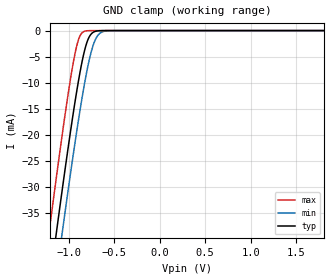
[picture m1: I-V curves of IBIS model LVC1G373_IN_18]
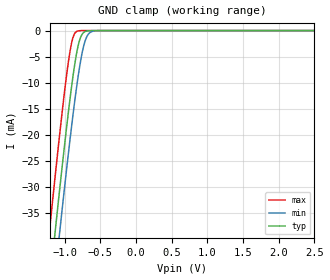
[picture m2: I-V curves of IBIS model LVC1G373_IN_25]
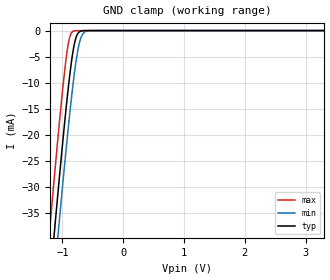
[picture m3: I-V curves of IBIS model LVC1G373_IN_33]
| TEXAS INSTRUMENTS INCORPORATED
| Standard Linear and Logic Group
| IBIS Model of SN74LVC1G373
| Single D-Type Latch with 3-State Output
| This file contains package information for the following:
|  SOT 6-pin (DBV) package as [Component] LVC1G373_DBV
|  SOT 6-pin (DCK) package as [Component] LVC1G373_DCK
|  DSBGA 6-pin (YEP) package as [Component] LVC1G373_YEP
|  DSBGA 6-pin (YZP) package as [Component] LVC1G373_YZP
| This device can be powered at the following Vccs:
|  1.8 volt Vcc
|  2.5 volt Vcc
|  3.3 volt Vcc
|  5 volt Vcc
| This file provides unique models under the [Model Selector] for each Vcc.
| For operation at a specific Vcc, select the appropriate model after each
| [Model Selector] keyword.
[IBIS Ver]   3.2
[Comment char]  |_char
[File Name]   sn74lvc1g373.ibs
[File Rev]   1.1 | x_die
[Date]   May 27, 2004
[Source]   Data created from TI-SPICE simulations at TI-SLL.
[Notes]   The following is an IBIS list for the LVC1G373.
   Please contact sllibis@ti.com with questions and
   comments concerning SLL IBIS models.
   - FILE REV HISTORY
   - 1.2 YEP and YZP packages released on 05/27/04
   - Power-clamp data has been deleted since there is no
   power-clamp diode in the device.
   - Due to the fact that the Device is 5.5-V Input tolarent,
   the pulldown model has some Non-Monotonic Warnings.
[Disclaimer] Property of Texas Instruments Incorporated.  Unauthorized
                reproduction and/or distribution is strictly prohibited.
                This product is protected under copyright law.
                Created  2003, (C) Copyright  2003, Texas Instruments
                Incorporated, All Rights Reserved
                UNLESS THERE IS A SIGNED, WRITTEN AGREEMENT TO THE
                CONTRARY, TEXAS INSTRUMENTS (TI) IS PROVIDING THE IBIS
                MODELS  AND WITHOUT ANY WARRANTY, EXPRESSED OR
                IMPLIED.  TI assumes no liability for:
                 1) the accuracy of the IBIS models provided to your
                    company;
                 2) the proper functioning of these IBIS Models in your
                    design or for any resulting applications; or
                 3) infringement of patents, copyrights or intellectual
                    property rights resulting from your use of these IBIS
                    models.
                TI provides IBIS Models as a service to our customers.
                You and your company shall not distribute, sell or give
                these models to anyone else without prior written
                permission from TI.
                TI reserves the right to make changes to our products or
                to discontinue any semiconductor product or service
                without notice, and advises our customers to obtain the
                latest version of relevant information to verify, before
                placing orders, that the information being relied on is
                current.
                Please be aware that your receipt and use of the IBIS
                information provided shall serve as acceptance of these
                terms and conditions.  If you do not accept these terms,
                you should return or destroy the IBIS models and any
                other accompanying information immediately.
| Component LVC1G373_DBV 6-pin SOT
[Component]   LVC1G373_DBV
[Manufacturer]   Texas Instruments, Inc.
[Package]
|   typ   min   max
R_pkg   2.500e-02   1.900e-02   3.700e-02
L_pkg   1.524e-09   1.260e-09   1.751e-09
C_pkg   2.450e-13   1.980e-13   2.640e-13
[Pin]   signal_name   model_name   R_pin   L_pin   C_pin
1   LE   LVC1G373_IN   2.100e-02   1.405e-09   2.460e-13
2   GND   GND   3.700e-02   1.751e-09   2.630e-13
3   D   LVC1G373_IN   2.600e-02   1.493e-09   2.470e-13
4   Q   LVC1G373_OUT   1.900e-02   1.620e-09   2.640e-13
5   VCC   POWER   2.400e-02   1.260e-09   1.980e-13
6   NOE   LVC1G373_IN   2.100e-02   1.617e-09   2.500e-13
| Component LVC1G373_DCK 6-pin SOT
[Component]   LVC1G373_DCK
[Manufacturer]   Texas Instruments, Inc.
[Package]
|   typ   min   max
R_pkg   1.400e-02   1.100e-02   2.100e-02
L_pkg   9.480e-10   7.840e-10   1.103e-09
C_pkg   1.910e-13   1.670e-13   2.050e-13
[Pin]   signal_name   model_name   R_pin   L_pin   C_pin
1   LE   LVC1G373_IN   1.300e-02   9.840e-10   1.960e-13
2   GND   GND   2.100e-02   1.103e-09   2.050e-13
3   D   LVC1G373_IN   1.100e-02   9.980e-10   1.970e-13
4   Q   LVC1G373_OUT   1.300e-02   9.040e-10   1.900e-13
5   VCC   POWER   1.500e-02   7.840e-10   1.670e-13
6   NOE   LVC1G373_IN   1.200e-02   9.160e-10   1.950e-13
| Component LVC1G373_YEP 6-pin DSBGA
[Component]   LVC1G373_YEP
[Manufacturer]   Texas Instruments, Inc.
[Package]
|   typ   min   max
R_pkg   1.000e-03   1.000e-03   1.000e-03
L_pkg   2.460e-11   2.400e-11   2.500e-11
C_pkg   6.500e-14   6.400e-14   6.700e-14
[Pin]   signal_name   model_name   R_pin   L_pin   C_pin
1   LE   LVC1G373_IN   1.000e-03   2.500e-11   6.400e-14
2   GND   GND   1.000e-03   2.400e-11   6.700e-14
3   D   LVC1G373_IN   1.000e-03   2.500e-11   6.400e-14
4   Q   LVC1G373_OUT   1.000e-03   2.500e-11   6.400e-14
5   VCC   POWER   1.000e-03   2.400e-11   6.700e-14
6   NOE   LVC1G373_IN   1.000e-03   2.500e-11   6.400e-14
| Component LVC1G373_YZP 6-pin DSBGA
[Component]   LVC1G373_YZP
[Manufacturer]   Texas Instruments, Inc.
[Package]
|   typ   min   max
R_pkg   1.000e-03   1.000e-03   1.000e-03
L_pkg   2.460e-11   2.400e-11   2.500e-11
C_pkg   6.500e-14   6.400e-14   6.700e-14
[Pin]   signal_name   model_name   R_pin   L_pin   C_pin
1   LE   LVC1G373_IN   1.000e-03   2.500e-11   6.400e-14
2   GND   GND   1.000e-03   2.400e-11   6.700e-14
3   D   LVC1G373_IN   1.000e-03   2.500e-11   6.400e-14
4   Q   LVC1G373_OUT   1.000e-03   2.500e-11   6.400e-14
5   VCC   POWER   1.000e-03   2.400e-11   6.700e-14
6   NOE   LVC1G373_IN   1.000e-03   2.500e-11   6.400e-14
| Model LVC1G373_IN
[Model Selector]   LVC1G373_IN
LVC1G373_IN_18   1.8 volt Vcc
LVC1G373_IN_25   2.5 volt Vcc
LVC1G373_IN_33   3.3 volt Vcc
LVC1G373_IN_50   5 volt Vcc
| Model LVC1G373_OUT
[Model Selector]   LVC1G373_OUT
LVC1G373_OUT_18   1.8 volt Vcc
LVC1G373_OUT_25   2.5 volt Vcc
LVC1G373_OUT_33   3.3 volt Vcc
LVC1G373_OUT_50   5 volt Vcc
| Models and submodels in the file (8): LVC1G373_IN_18 (Input), LVC1G373_IN_25 (Input), LVC1G373_IN_33 (Input), LVC1G373_IN_50 (Input), LVC1G373_OUT_18 (3-state), LVC1G373_OUT_25 (3-state), LVC1G373_OUT_33 (3-state), LVC1G373_OUT_50 (3-state)
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[Model]   LVC1G373_IN_18
Model_type  Input
Vinl=0.5775
Vinh=1.2675
| variable   typ   min   max
C_comp   3.12pF   2.68pF   3.80pF
[Temperature Range]   40   100   -40
| Ambient temperature   25   85   -40
[Voltage range]   1.8   1.65   1.95
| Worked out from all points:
|   GND clamp passes 1 mA (typ) near -0.77 V on its own axis
[GND Clamp]
| LVC1G373_IN_18
|   Voltage   I(typ)   I(min)   I(max)
-5.5V     -655.2mA   -662.2mA   -646.6mA
-1.215V   -49.6mA    -57.88mA   -38.96mA
-1.135V   -39.07mA   -47.36mA   -28.42mA
-1.075V   -31.35mA   -39.6mA    -20.75mA
-1.055V   -28.82mA   -37.05mA   -18.27mA
-955mV    -16.68mA   -24.66mA   -6.874mA
-885mV    -9.098mA   -16.55mA   -1.486mA
-825mV    -3.922mA   -10.26mA   -137.1uA
-780mV    -1.472mA   -6.227mA   -17.15uA
-715mV    -205.4uA   -2.128mA   -808.5nA
-650mV    -22.01uA   -443.9uA   -37.93nA
1.8V      3.326pA    6.142pA    3.026pA
[Model]   LVC1G373_IN_25
Model_type  Input
Vinl=0.7
Vinh=1.7
| variable   typ   min   max
C_comp   3.01pF   2.47pF   3.83pF
[Temperature Range]   40   100   -40
| Ambient temperature   25   85   -40
[Voltage range]   2.5   2.3   2.7
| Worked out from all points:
|   GND clamp passes 1 mA (typ) near -0.77 V on its own axis
[GND Clamp]
| LVC1G373_IN_25
|   Voltage   I(typ)   I(min)   I(max)
-5.5V     -655.2mA   -662.2mA   -646.6mA
-1.215V   -49.6mA    -57.88mA   -38.96mA
-1.14V    -39.72mA   -48.01mA   -29.07mA
-1.12V    -37.12mA   -45.41mA   -26.48mA
-1.08V    -31.98mA   -40.25mA   -21.38mA
-1.06V    -29.44mA   -37.69mA   -18.89mA
-960mV    -17.26mA   -25.26mA   -7.377mA
-890mV    -9.597mA   -17.1mA    -1.734mA
-785mV    -1.671mA   -6.635mA   -21.67uA
-720mV    -242.5uA   -2.354mA   -1.023uA
-650mV    -22.01uA   -443.9uA   -37.93nA
2.5V      4.713pA    7.577pA    4.389pA
[Model]   LVC1G373_IN_33
Model_type  Input
Vinl=0.8
Vinh=2.0
| variable   typ   min   max
C_comp   2.92pF   2.33pF   3.83pF
[Temperature Range]   40   100   -40
| Ambient temperature   25   85   -40
[Voltage range]   3.3   3   3.6
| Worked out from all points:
|   GND clamp passes 1 mA (typ) near -0.77 V on its own axis
[GND Clamp]
| LVC1G373_IN_33
|   Voltage   I(typ)   I(min)   I(max)
-5.5V     -655.2mA   -662.2mA   -646.6mA
-1.225V   -50.93mA   -59.21mA   -40.3mA
-1.145V   -40.37mA   -48.66mA   -29.72mA
-1.12V    -37.12mA   -45.41mA   -26.48mA
-1.08V    -31.98mA   -40.25mA   -21.38mA
-1.06V    -29.44mA   -37.69mA   -18.89mA
-965mV    -17.84mA   -25.87mA   -7.89mA
-885mV    -9.098mA   -16.55mA   -1.486mA
-780mV    -1.472mA   -6.227mA   -17.15uA
-715mV    -205.4uA   -2.128mA   -808.5nA
-640mV    -15.53uA   -338.1uA   -23.69nA
3.3V      6.304pA    9.258pA    5.93pA
